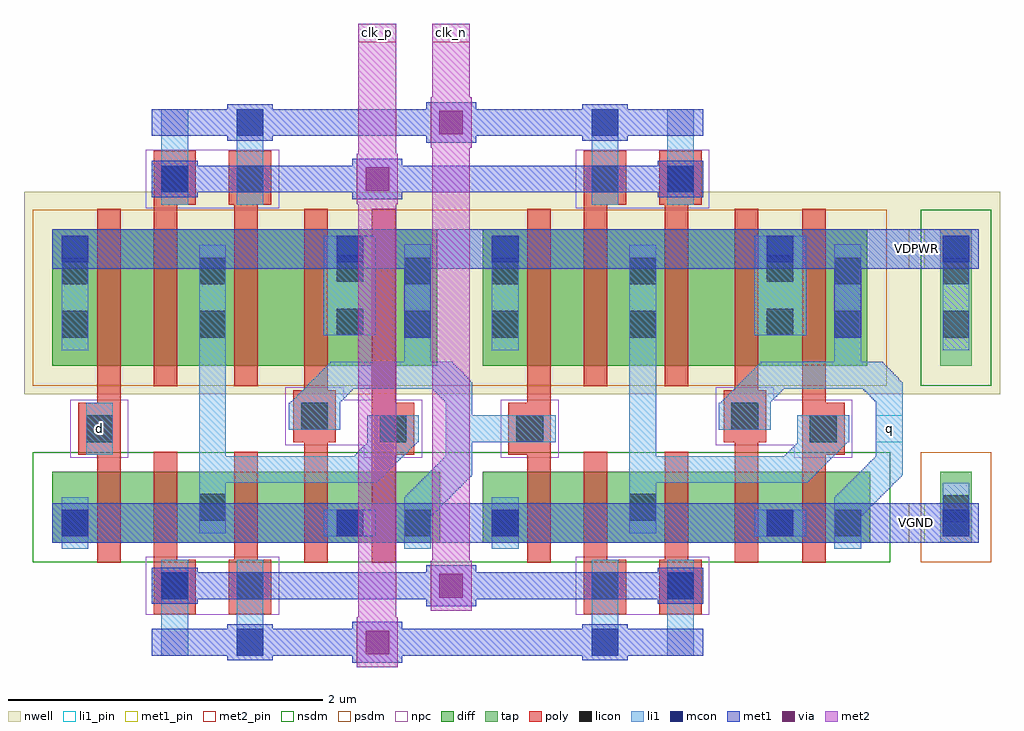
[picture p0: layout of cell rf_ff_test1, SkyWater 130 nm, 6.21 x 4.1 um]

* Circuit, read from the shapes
.subckt rf_ff_test1 VDPWR VGND clk_n clk_p d q
XM1 n1 d VGND VGND sky130_fd_pr__nfet_01v8 w=0.45 l=0.15
XM2 n2 clk_n n1 VGND sky130_fd_pr__nfet_01v8 w=0.45 l=0.15
XM3 n3 clk_p n2 VGND sky130_fd_pr__nfet_01v8 w=0.45 l=0.15
XM4 VGND n4 n3 VGND sky130_fd_pr__nfet_01v8 w=0.45 l=0.15
XM5 n4 n2 VGND VGND sky130_fd_pr__nfet_01v8 w=0.45 l=0.15
XM6 n5 n4 VGND VGND sky130_fd_pr__nfet_01v8 w=0.45 l=0.15
XM7 n6 clk_p n5 VGND sky130_fd_pr__nfet_01v8 w=0.45 l=0.15
XM8 n7 clk_n n6 VGND sky130_fd_pr__nfet_01v8 w=0.45 l=0.15
XM9 VGND q n7 VGND sky130_fd_pr__nfet_01v8 w=0.45 l=0.15
XM10 q n6 VGND VGND sky130_fd_pr__nfet_01v8 w=0.45 l=0.15
XM11 n8 d VDPWR VDPWR sky130_fd_pr__pfet_01v8 w=0.87 l=0.15
XM12 n2 clk_p n8 VDPWR sky130_fd_pr__pfet_01v8 w=0.87 l=0.15
XM13 n9 clk_n n2 VDPWR sky130_fd_pr__pfet_01v8 w=0.87 l=0.15
XM14 VDPWR n4 n9 VDPWR sky130_fd_pr__pfet_01v8 w=0.87 l=0.15
XM15 n4 n2 VDPWR VDPWR sky130_fd_pr__pfet_01v8 w=0.87 l=0.15
XM16 n10 n4 VDPWR VDPWR sky130_fd_pr__pfet_01v8 w=0.87 l=0.15
XM17 n6 clk_n n10 VDPWR sky130_fd_pr__pfet_01v8 w=0.87 l=0.15
XM18 n11 clk_p n6 VDPWR sky130_fd_pr__pfet_01v8 w=0.87 l=0.15
XM19 VDPWR q n11 VDPWR sky130_fd_pr__pfet_01v8 w=0.87 l=0.15
XM20 q n6 VDPWR VDPWR sky130_fd_pr__pfet_01v8 w=0.87 l=0.15
.ends

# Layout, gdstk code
import gdstk
lib = gdstk.Library(unit=1e-6, precision=1e-09)
def R(c, l, rs):  # rectangles x0, y0, x1, y1
    for r in rs: c.add(gdstk.rectangle(r[:2], r[2:], *l))
nwell = (64, 20)
diff = (65, 20)
tap = (65, 44)
poly = (66, 20)
licon = (66, 44)
li1_pin = (67, 16)
li1 = (67, 20)
mcon = (67, 44)
met1_pin = (68, 16)
met1 = (68, 20)
via = (68, 44)
met2_pin = (69, 16)
met2 = (69, 20)
nsdm = (93, 44)
psdm = (94, 20)
npc = (95, 20)

rf_ff_test1 = lib.new_cell('rf_ff_test1')
R(rf_ff_test1, nwell, [(11.765,0.96,17.98,2.25)])
R(rf_ff_test1, diff, [(11.945,0.015,14.415,0.465), (14.685,0.015,17.155,0.465), (11.945,1.14,14.395,2.01), (14.685,1.14,17.135,2.01)])
R(rf_ff_test1, tap, [(17.6,0.015,17.8,0.465), (17.6,1.14,17.8,2.01)])
R(rf_ff_test1, poly, [(12.59,-0.44,12.86,-0.095), (13.07,-0.44,13.34,-0.095), (15.33,-0.44,15.6,-0.095), (15.81,-0.44,16.08,-0.095), (12.23,-0.115,12.38,0.575), (13.55,-0.115,13.7,0.655), (13.98,-0.115,14.13,0.575), (14.97,-0.115,15.12,0.575), (16.29,-0.115,16.44,0.655), (16.72,-0.115,16.87,0.575), (12.59,-0.095,12.74,0.595), (13.105,-0.095,13.255,0.595), (15.33,-0.095,15.48,0.595), (15.845,-0.095,15.995,0.595), (12.11,0.575,12.38,0.905), (13.98,0.575,14.25,0.905), (14.85,0.575,15.12,0.905), (16.72,0.575,16.99,0.905), (13.48,0.655,13.75,0.985), (16.22,0.655,16.49,0.985), (12.23,0.905,12.38,2.14), (13.98,0.905,14.13,2.14), (14.97,0.905,15.12,2.14), (16.72,0.905,16.87,2.14), (13.55,0.985,13.7,2.14), (16.29,0.985,16.44,2.14), (12.59,1.01,12.74,2.165), (13.105,1.01,13.255,2.165), (15.33,1.01,15.48,2.165), (15.845,1.01,15.995,2.165), (12.59,2.165,12.86,2.51), (13.07,2.165,13.34,2.51), (15.33,2.165,15.6,2.51), (15.81,2.165,16.08,2.51)])
R(rf_ff_test1, licon, [(12.64,-0.345,12.81,-0.175), (13.12,-0.345,13.29,-0.175), (15.38,-0.345,15.55,-0.175), (15.86,-0.345,16.03,-0.175), (12.005,0.055,12.175,0.225), (13.755,0.055,13.925,0.225), (14.185,0.055,14.355,0.225), (14.745,0.055,14.915,0.225), (16.495,0.055,16.665,0.225), (16.925,0.055,17.095,0.225), (17.615,0.145,17.785,0.315), (12.88,0.155,13.05,0.325), (15.62,0.155,15.79,0.325), (12.16,0.655,12.33,0.825), (14.03,0.655,14.2,0.825), (14.9,0.655,15.07,0.825), (16.77,0.655,16.94,0.825), (13.53,0.735,13.7,0.905), (16.27,0.735,16.44,0.905), (12.005,1.32,12.175,1.49), (12.88,1.32,13.05,1.49), (14.185,1.32,14.355,1.49), (14.745,1.32,14.915,1.49), (15.62,1.32,15.79,1.49), (16.925,1.32,17.095,1.49), (17.615,1.32,17.785,1.49), (13.755,1.335,13.925,1.505), (16.495,1.335,16.665,1.505), (12.005,1.66,12.175,1.83), (12.88,1.66,13.05,1.83), (14.185,1.66,14.355,1.83), (14.745,1.66,14.915,1.83), (15.62,1.66,15.79,1.83), (16.925,1.66,17.095,1.83), (17.615,1.66,17.785,1.83), (13.755,1.675,13.925,1.845), (16.495,1.675,16.665,1.845), (12.64,2.245,12.81,2.415), (13.12,2.245,13.29,2.415), (15.38,2.245,15.55,2.415), (15.86,2.245,16.03,2.415)])
R(rf_ff_test1, li1_pin, [(12.16,0.655,12.33,0.825), (17.19,0.655,17.36,0.825)])
R(rf_ff_test1, li1, [(12.64,-0.705,12.81,-0.095), (13.12,-0.705,13.29,-0.095), (15.38,-0.705,15.55,-0.095), (15.86,-0.705,16.03,-0.095), (12.005,-0.025,12.175,0.305), (14.185,-0.025,14.355,0.185), (14.745,-0.025,14.915,0.305), (16.925,-0.025,17.095,0.185), (13.675,0.055,14.005,0.225), (16.415,0.055,16.745,0.225), (17.615,0.055,17.785,0.395), (12.88,0.075,13.05,0.395), (15.62,0.075,15.79,0.395), (14.185,0.185,14.365,0.195), (16.925,0.185,17.105,0.195), (14.185,0.195,14.375,0.205), (16.925,0.195,17.115,0.205), (14.185,0.205,14.385,0.215), (16.925,0.205,17.125,0.215), (14.185,0.215,14.395,0.225), (16.925,0.215,17.135,0.225), (14.185,0.225,14.405,0.235), (16.925,0.225,17.145,0.235), (14.185,0.235,14.415,0.245), (16.925,0.235,17.155,0.245), (14.185,0.245,14.425,0.255), (16.925,0.245,17.165,0.255), (14.185,0.255,14.435,0.265), (16.925,0.255,17.175,0.265), (14.185,0.265,14.445,0.275), (16.925,0.265,17.185,0.275), (14.185,0.275,14.455,0.285), (16.925,0.275,17.195,0.285), (14.185,0.285,14.465,0.295), (16.925,0.285,17.205,0.295), (14.185,0.295,14.475,0.305), (16.925,0.295,17.215,0.305), (14.195,0.305,14.485,0.315), (16.935,0.305,17.225,0.315), (14.205,0.315,14.495,0.325), (16.945,0.315,17.235,0.325), (14.215,0.325,14.505,0.335), (16.955,0.325,17.245,0.335), (14.225,0.335,14.515,0.345), (16.965,0.335,17.255,0.345), (14.235,0.345,14.525,0.355), (16.975,0.345,17.265,0.355), (14.245,0.355,14.535,0.365), (16.985,0.355,17.275,0.365), (14.255,0.365,14.545,0.375), (16.995,0.365,17.285,0.375), (14.265,0.375,14.555,0.385), (17.005,0.375,17.295,0.385), (14.275,0.385,14.565,0.395), (17.015,0.385,17.305,0.395), (12.88,0.395,14.015,0.405), (14.285,0.395,14.575,0.405), (15.62,0.395,16.755,0.405), (17.025,0.395,17.315,0.405), (12.88,0.405,14.025,0.415), (14.295,0.405,14.585,0.415), (15.62,0.405,16.765,0.415), (17.035,0.405,17.325,0.415), (12.88,0.415,14.035,0.425), (14.305,0.415,14.595,0.425), (15.62,0.415,16.775,0.425), (17.045,0.415,17.335,0.425), (12.88,0.425,14.045,0.435), (14.315,0.425,14.605,0.435), (15.62,0.425,16.785,0.435), (17.055,0.425,17.345,0.435), (12.88,0.435,14.055,0.445), (14.325,0.435,14.615,0.445), (15.62,0.435,16.795,0.445), (17.065,0.435,17.355,0.445), (12.88,0.445,14.065,0.455), (14.335,0.445,14.62,0.455), (15.62,0.445,16.805,0.455), (17.075,0.445,17.36,0.455), (12.88,0.455,14.075,0.465), (14.345,0.455,14.62,0.465), (15.62,0.455,16.815,0.465), (17.085,0.455,17.36,0.465), (12.88,0.465,14.085,0.475), (14.355,0.465,14.62,0.475), (15.62,0.465,16.825,0.475), (17.095,0.465,17.36,0.475), (12.88,0.475,14.095,0.485), (14.365,0.475,14.62,0.485), (15.62,0.475,16.835,0.485), (17.105,0.475,17.36,0.485), (12.88,0.485,14.105,0.495), (14.375,0.485,14.62,0.495), (15.62,0.485,16.845,0.495), (17.115,0.485,17.36,0.495), (12.88,0.495,14.115,0.505), (14.385,0.495,14.62,0.505), (15.62,0.495,16.855,0.505), (17.125,0.495,17.36,0.505), (12.88,0.505,14.125,0.515), (14.395,0.505,14.62,0.515), (15.62,0.505,16.865,0.515), (17.135,0.505,17.36,0.515), (12.88,0.515,14.135,0.525), (14.405,0.515,14.62,0.525), (15.62,0.515,16.875,0.525), (17.145,0.515,17.36,0.525), (12.88,0.525,14.145,0.535), (14.415,0.525,14.62,0.535), (15.62,0.525,16.885,0.535), (17.155,0.525,17.36,0.535), (12.88,0.535,14.155,0.545), (14.425,0.535,14.62,0.545), (15.62,0.535,16.895,0.545), (17.165,0.535,17.36,0.545), (12.88,0.545,14.165,0.555), (14.435,0.545,14.62,0.555), (15.62,0.545,16.905,0.555), (17.175,0.545,17.36,0.555), (12.88,0.555,14.175,0.565), (14.445,0.555,14.62,0.565), (15.62,0.555,16.915,0.565), (17.185,0.555,17.36,0.565), (12.88,0.565,13.05,1.91), (13.87,0.565,14.185,0.575), (14.45,0.565,14.62,0.655), (15.62,0.565,15.79,1.91), (16.61,0.565,16.925,0.575), (17.19,0.565,17.36,0.915), (12.16,0.575,12.33,0.905), (13.88,0.575,14.195,0.585), (16.62,0.575,16.935,0.585), (13.89,0.585,14.205,0.595), (16.63,0.585,16.945,0.595), (13.9,0.595,14.215,0.605), (16.64,0.595,16.955,0.605), (13.91,0.605,14.225,0.615), (16.65,0.605,16.965,0.615), (13.92,0.615,14.235,0.625), (16.66,0.615,16.975,0.625), (13.93,0.625,14.245,0.635), (16.67,0.625,16.985,0.635), (13.94,0.635,14.255,0.645), (16.68,0.635,16.995,0.645), (13.95,0.645,14.265,0.655), (16.69,0.645,17.005,0.655), (13.95,0.655,14.28,0.825), (14.45,0.655,15.15,0.825), (16.69,0.655,17.02,0.825), (13.45,0.735,13.78,0.905), (16.19,0.735,16.52,0.905), (14.45,0.825,14.62,0.915), (13.465,0.905,13.78,0.915), (16.205,0.905,16.52,0.915), (13.475,0.915,13.79,0.925), (14.44,0.915,14.62,0.925), (16.215,0.915,16.53,0.925), (17.18,0.915,17.36,0.925), (13.485,0.925,13.8,0.935), (14.43,0.925,14.62,0.935), (16.225,0.925,16.54,0.935), (17.17,0.925,17.36,0.935), (13.495,0.935,13.81,0.945), (14.42,0.935,14.62,0.945), (16.235,0.935,16.55,0.945), (17.16,0.935,17.36,0.945), (13.505,0.945,13.82,0.955), (14.41,0.945,14.62,0.955), (16.245,0.945,16.56,0.955), (17.15,0.945,17.36,0.955), (13.515,0.955,13.83,0.965), (14.4,0.955,14.62,0.965), (16.255,0.955,16.57,0.965), (17.14,0.955,17.36,0.965), (13.525,0.965,13.84,0.975), (14.39,0.965,14.62,0.975), (16.265,0.965,16.58,0.975), (17.13,0.965,17.36,0.975), (13.535,0.975,13.85,0.985), (14.38,0.975,14.62,0.985), (16.275,0.975,16.59,0.985), (17.12,0.975,17.36,0.985), (13.545,0.985,13.86,0.995), (14.37,0.985,14.62,0.995), (16.285,0.985,16.6,0.995), (17.11,0.985,17.36,0.995), (13.555,0.995,14.62,1.005), (16.295,0.995,17.36,1.005), (13.565,1.005,14.62,1.015), (16.305,1.005,17.36,1.015), (13.575,1.015,14.62,1.025), (16.315,1.015,17.36,1.025), (13.585,1.025,14.62,1.035), (16.325,1.025,17.36,1.035), (13.595,1.035,14.61,1.045), (16.335,1.035,17.35,1.045), (13.605,1.045,14.6,1.055), (16.345,1.045,17.34,1.055), (13.615,1.055,14.595,1.065), (16.355,1.055,17.335,1.065), (13.625,1.065,14.585,1.075), (16.365,1.065,17.325,1.075), (13.635,1.075,14.575,1.085), (16.375,1.075,17.315,1.085), (13.645,1.085,14.565,1.095), (16.385,1.085,17.305,1.095), (13.655,1.095,14.555,1.105), (16.395,1.095,17.295,1.105), (13.665,1.105,14.545,1.115), (16.405,1.105,17.285,1.115), (13.675,1.115,14.535,1.125), (16.415,1.115,17.275,1.125), (13.685,1.125,14.525,1.135), (16.425,1.125,17.265,1.135), (13.695,1.135,14.515,1.145), (16.435,1.135,17.255,1.145), (13.705,1.145,14.505,1.155), (16.445,1.145,17.245,1.155), (13.715,1.155,14.495,1.165), (16.455,1.155,17.235,1.165), (14.185,1.165,14.355,1.915), (16.925,1.165,17.095,1.915), (12.005,1.24,12.175,1.97), (14.745,1.24,14.915,1.97), (17.615,1.24,17.785,1.97), (13.675,1.335,14.005,1.97), (16.415,1.335,16.745,1.97), (12.64,2.165,12.81,2.775), (13.12,2.165,13.29,2.775), (15.38,2.165,15.55,2.775), (15.86,2.165,16.03,2.775)])
R(rf_ff_test1, mcon, [(13.12,-0.705,13.29,-0.535), (15.38,-0.705,15.55,-0.535), (12.64,-0.345,12.81,-0.175), (15.86,-0.345,16.03,-0.175), (12.005,0.055,12.175,0.225), (13.755,0.055,13.925,0.225), (14.745,0.055,14.915,0.225), (16.495,0.055,16.665,0.225), (17.615,0.055,17.785,0.225), (12.005,1.8,12.175,1.97), (13.755,1.8,13.925,1.97), (14.745,1.8,14.915,1.97), (16.495,1.8,16.665,1.97), (17.615,1.8,17.785,1.97), (12.64,2.245,12.81,2.415), (15.86,2.245,16.03,2.415), (13.12,2.605,13.29,2.775), (15.38,2.605,15.55,2.775)])
R(rf_ff_test1, met1_pin, [(17.4,0.015,17.5,0.265), (17.4,1.76,17.5,2.01)])
R(rf_ff_test1, met1, [(13.855,-0.75,14.175,-0.705), (13.06,-0.735,13.35,-0.705), (15.32,-0.735,15.61,-0.705), (12.58,-0.705,16.09,-0.535), (13.06,-0.535,13.35,-0.505), (13.855,-0.535,14.175,-0.49), (15.32,-0.535,15.61,-0.505), (14.325,-0.39,14.645,-0.345), (12.58,-0.375,12.87,-0.345), (15.8,-0.375,16.09,-0.345), (12.58,-0.345,16.09,-0.175), (12.58,-0.175,12.87,-0.145), (14.325,-0.175,14.645,-0.13), (15.8,-0.175,16.09,-0.145), (11.945,0.015,17.845,0.265), (14.185,1.32,14.355,1.76), (16.925,1.32,17.095,1.76), (11.945,1.76,17.845,2.01), (13.855,2.2,14.175,2.245), (12.58,2.215,12.87,2.245), (15.8,2.215,16.09,2.245), (12.58,2.245,16.09,2.415), (12.58,2.415,12.87,2.445), (13.855,2.415,14.175,2.46), (15.8,2.415,16.09,2.445), (14.325,2.56,14.645,2.605), (13.06,2.575,13.35,2.605), (15.32,2.575,15.61,2.605), (12.58,2.605,16.09,2.775), (13.06,2.775,13.35,2.805), (14.325,2.775,14.645,2.82), (15.32,2.775,15.61,2.805)])
R(rf_ff_test1, via, [(13.94,-0.695,14.09,-0.545), (14.41,-0.335,14.56,-0.185), (13.94,2.255,14.09,2.405), (14.41,2.615,14.56,2.765)])
R(rf_ff_test1, met2_pin, [(13.895,3.2,14.135,3.32), (14.365,3.2,14.605,3.32)])
R(rf_ff_test1, met2, [(13.885,-0.78,14.145,-0.46), (13.895,-0.46,14.135,2.17), (14.355,-0.42,14.615,-0.1), (14.365,-0.1,14.605,2.53), (13.885,2.17,14.145,2.49), (13.895,2.49,14.135,3.32), (14.355,2.53,14.615,2.85), (14.365,2.85,14.605,3.32)])
R(rf_ff_test1, nsdm, [(11.82,-0.11,17.28,0.59), (17.475,1.015,17.925,2.135)])
R(rf_ff_test1, psdm, [(17.475,-0.11,17.925,0.59), (11.82,1.015,17.26,2.135)])
R(rf_ff_test1, npc, [(12.54,-0.445,13.39,-0.075), (15.28,-0.445,16.13,-0.075), (12.06,0.555,12.43,0.925), (13.93,0.555,14.3,0.635), (14.8,0.555,15.17,0.925), (16.67,0.555,17.04,0.635), (13.43,0.635,14.3,0.925), (16.17,0.635,17.04,0.925), (13.43,0.925,13.8,1.005), (16.17,0.925,16.54,1.005), (12.54,2.145,13.39,2.515), (15.28,2.145,16.13,2.515)])
rf_ff_test1.add(gdstk.Label('VGND', (17.45,0.14), layer=68, texttype=5))
rf_ff_test1.add(gdstk.Label('VDPWR', (17.45,1.885), layer=68, texttype=5))
rf_ff_test1.add(gdstk.Label('clk_p', (14.015,3.26), layer=69, texttype=5))
rf_ff_test1.add(gdstk.Label('clk_n', (14.485,3.26), layer=69, texttype=5))
rf_ff_test1.add(gdstk.Label('d', (12.245,0.74), layer=67, texttype=5))
rf_ff_test1.add(gdstk.Label('q', (17.275,0.74), layer=67, texttype=5))

lib.write_gds('rf_ff_test1.gds')
